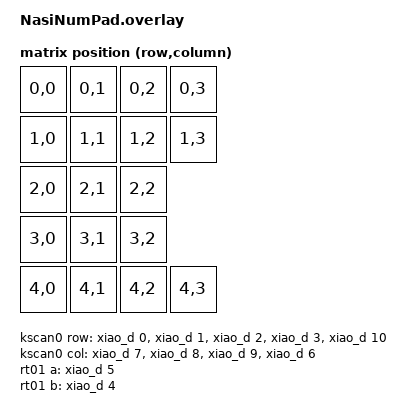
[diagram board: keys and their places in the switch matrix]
#include <dt-bindings/zmk/matrix_transform.h>

/ {
    chosen {
        zmk,kscan = &kscan0;
        zmk,matrix_transform = &default_transform;
    };
    
    default_transform: keymap_transform_0 {
        compatible = "zmk,matrix-transform";
        columns = <4>;
        rows = <5>;

        map = <
RC(0,0) RC(0,1) RC(0,2) RC(0,3) 
RC(1,0) RC(1,1) RC(1,2) RC(1,3) 
RC(2,0) RC(2,1) RC(2,2) 
RC(3,0) RC(3,1) RC(3,2) 
RC(4,0) RC(4,1) RC(4,2) RC(4,3) 
        
        >;
    };
    
    kscan0: kscan_0 {
        compatible = "zmk,kscan-gpio-matrix";
        label = "KSCAN";
        diode-direction = "col2row";

        col-gpios
            = <&xiao_d 7 GPIO_ACTIVE_HIGH>
            , <&xiao_d 8 GPIO_ACTIVE_HIGH>
            , <&xiao_d 9 GPIO_ACTIVE_HIGH>
            , <&xiao_d 6 GPIO_ACTIVE_HIGH>
            ;

        row-gpios
            = <&xiao_d 0 (GPIO_ACTIVE_HIGH | GPIO_PULL_DOWN)>
            , <&xiao_d 1 (GPIO_ACTIVE_HIGH | GPIO_PULL_DOWN)>
            , <&xiao_d 2 (GPIO_ACTIVE_HIGH | GPIO_PULL_DOWN)>
            , <&xiao_d 3 (GPIO_ACTIVE_HIGH | GPIO_PULL_DOWN)>
            , <&xiao_d 10 (GPIO_ACTIVE_HIGH | GPIO_PULL_DOWN)>
            ;
    };

	rt01: encoder_01 {
        compatible = "alps,ec11";
        label = "ENCODER 01";
        a-gpios = <&xiao_d 5 (GPIO_ACTIVE_HIGH | GPIO_PULL_UP)>;
        b-gpios = <&xiao_d 4 (GPIO_ACTIVE_HIGH | GPIO_PULL_UP)>;
        resolution = <4>;
		status = "okay";
    };

	sensors {
        compatible = "zmk,keymap-sensors";
        sensors = <&rt01>;
    };
};

&rt01 {
	status = "okay";
};

